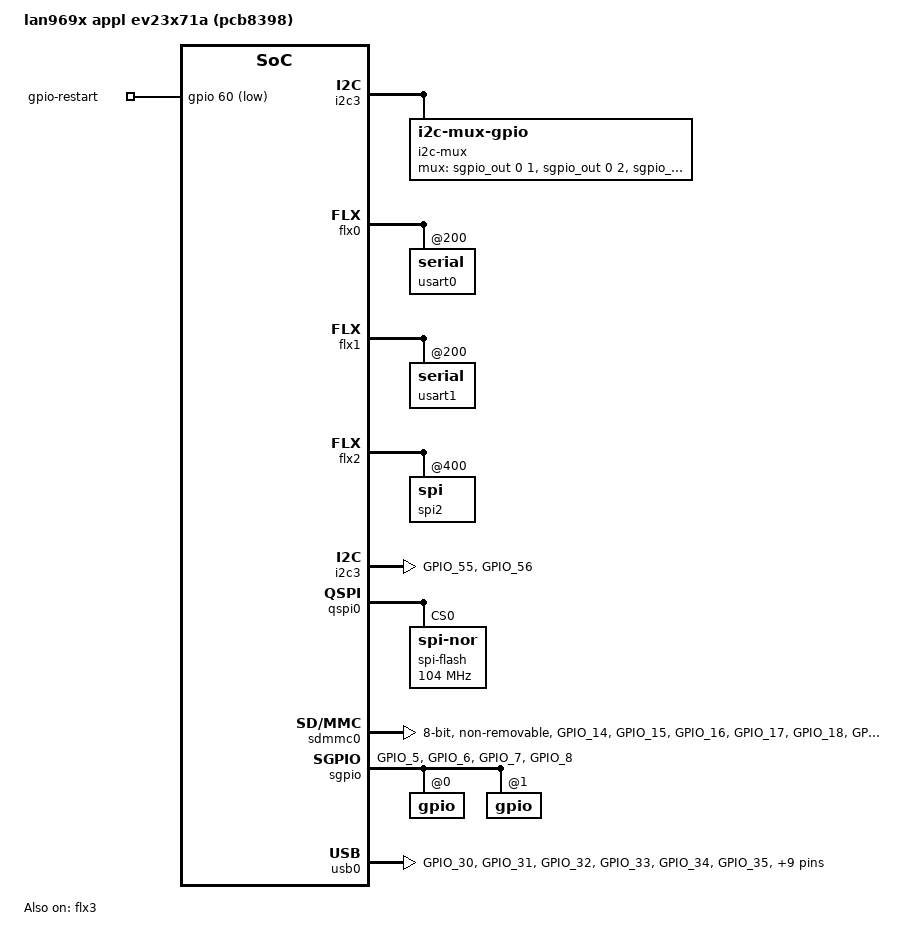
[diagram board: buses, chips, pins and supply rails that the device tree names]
// SPDX-License-Identifier: (GPL-2.0+ OR MIT)

/*
 * Copyright (c) 2022 Microchip Technology Inc. and its subsidiaries.
 */

/dts-v1/;

#include "lan969x.dtsi"

/ {
	model = "lan969x appl ev23x71a (pcb8398)";
	aliases {
		serial0 = &usart0;
		i2c0   = &i2c_poe;
		i2c100 = &i2c_sfp0;
		i2c101 = &i2c_sfp1;
		i2c102 = &i2c_sfp2;
		i2c103 = &i2c_sfp3;
	};

	chosen {
		stdout-path = "serial0:115200n8";
	};

	gpio-restart {
		compatible = "gpio-restart";
		gpios = <&gpio 60 GPIO_ACTIVE_LOW>;
		open-source;
		priority = <200>;
	};

	i2c-mux {
		compatible = "i2c-mux-gpio";
		#address-cells = <1>;
		#size-cells = <0>;
		i2c-parent = <&i2c3>;

		mux-gpios = <&sgpio_out 0 1 GPIO_ACTIVE_HIGH
			     &sgpio_out 0 2 GPIO_ACTIVE_HIGH
			     &sgpio_out 0 3 GPIO_ACTIVE_HIGH>;
		idle-state = <0x8>;

		i2c_sfp0: i2c-sfp0 {
			reg = <0x0>;
		};

		i2c_sfp1: i2c-sfp1 {
			reg = <0x1>;
		};

		i2c_sfp2: i2c-sfp2 {
			reg = <0x2>;
		};

		i2c_sfp3: i2c-sfp3 {
			reg = <0x3>;
		};

		i2c_poe: i2c-poe {
			reg = <0x7>;
		};
	};

	switch_vtss: switch_vtss@e0000000 {
		compatible = "mchp,lan969x-switch-appl";
		reg = <0xe00c0000 0x0010000>,
		      <0xe2010000 0x1410000>;
		reg-names = "cpu", "dev";

		interrupts = <GIC_SPI 10 IRQ_TYPE_LEVEL_HIGH>,
			     <GIC_SPI 88 IRQ_TYPE_LEVEL_HIGH>;
		interrupt-names = "xtr", "fdma";
	};

	switch_ifmux {
		compatible = "microchip,lan969x-ifmux";
		status = "okay";
	};
};

&flx0 {
	atmel,flexcom-mode = <ATMEL_FLEXCOM_MODE_USART>;
	status = "okay";

	usart0: serial@200 {
		pinctrl-0 = <&fc0_pins>;
		pinctrl-names = "default";
		status = "okay";
	};
};

&flx1 {
	atmel,flexcom-mode = <ATMEL_FLEXCOM_MODE_USART>;
	status = "okay";

	usart1: serial@200 {
		pinctrl-0 = <&fc1_pins>;
		pinctrl-names = "default";
		status = "okay";
	};
};

&flx2 {
	atmel,flexcom-mode = <ATMEL_FLEXCOM_MODE_SPI>;
	status = "okay";

	spi2: spi@400 {
		pinctrl-0 = <&fc2_pins>;
		pinctrl-names = "default";
		cs-gpios = <&gpio 63 GPIO_ACTIVE_LOW>;
		status = "okay";

		spi@0 {
			compatible = "mchp,synce_dpll";
			reg = <0>;
			spi-max-frequency = <8000000>;
		};
	};
};

&flx3 {
	atmel,flexcom-mode = <ATMEL_FLEXCOM_MODE_TWI>;
	status = "okay";

	i2c3: i2c@600 {
		pinctrl-0 = <&fc3_pins>;
		pinctrl-names = "default";
		i2c-analog-filter;
		i2c-digital-filter;
		i2c-digital-filter-width-ns = <35>;
		i2c-sda-hold-time-ns = <1500>;
		status = "okay";
	};
};

&gpio {
	emmc_sd_pins: emmc-sd-pins {
		/* eMMC_SD - CMD, CLK, D0, D1, D2, D3, D4, D5, D6, D7, RSTN */
		pins = "GPIO_14", "GPIO_15", "GPIO_16", "GPIO_17",
		       "GPIO_18", "GPIO_19", "GPIO_20", "GPIO_21",
		       "GPIO_22", "GPIO_23", "GPIO_24";
		function = "emmc_sd";
	};

	fc0_pins: fc0-pins {
		pins = "GPIO_3", "GPIO_4";
		function = "fc";
	};

	fc1_pins: fc1-pins {
		pins = "GPIO_28", "GPIO_29";
		function = "fc";
	};

	fc2_pins: fc2-pins {
		pins = "GPIO_64", "GPIO_65", "GPIO_66";
		function = "fc";
	};

	fc3_pins: fc3-pins {
		pins = "GPIO_55", "GPIO_56";
		function = "fc";
	};

	sgpio_pins: sgpio-pins {
		/* SCK, D0, D1, LD */
		pins = "GPIO_5", "GPIO_6", "GPIO_7", "GPIO_8";
		function = "sgpio_a";
	};

	usb_ulpi_pins: usb-ulpi-pins {
		pins = "GPIO_30", "GPIO_31", "GPIO_32", "GPIO_33",
		"GPIO_34", "GPIO_35", "GPIO_36", "GPIO_37",
		"GPIO_38", "GPIO_39", "GPIO_40", "GPIO_41";
		function = "usb_ulpi";
	};

	usb_rst_pins: usb-rst-pins {
		pins = "GPIO_12";
		function = "usb2phy_rst";
	};

	usb_over_pins: usb-over-pins {
		pins = "GPIO_13";
		function = "usb_over_detect";
	};

	usb_power_pins: usb-power-pins {
		pins = "GPIO_1";
		function = "usb_power";
	};
};

&gpio {
	/delete-property/ interrupts;
	/delete-property/ interrupt-controller;
	/delete-property/ #interrupt-cells;
};

&qspi0 {
	status = "okay";

	spi-flash@0 {
		compatible = "jedec,spi-nor";
		reg = <0>;
		spi-max-frequency = <104000000>;
		#address-cells = <1>;
		#size-cells = <1>;
		spi-tx-bus-width = <1>;
		spi-rx-bus-width = <4>;
		m25p,fast-read;
	};
};

&sdmmc0 {
	pinctrl-0 = <&emmc_sd_pins>;
	pinctrl-names = "default";
	max-frequency = <100000000>;
	bus-width = <8>;
	mmc-ddr-1_8v;
	mmc-hs200-1_8v;
	non-removable;
	disable-wp;
	status = "okay";
};

&sgpio_in {
	/delete-property/ interrupts;
	/delete-property/ interrupt-controller;
	/delete-property/ #interrupt-cells;
};

&sgpio {
	pinctrl-0 = <&sgpio_pins>;
	pinctrl-names = "default";

	bus-frequency = <5000000>;

	microchip,sgpio-port-ranges = <0 1>, <6 9>;
	status = "okay";

	gpio@0 {
		ngpios = <128>;
	};
	gpio@1 {
		ngpios = <128>;
	};
};

&uio0 {
	interrupts = <GIC_SPI 17 IRQ_TYPE_LEVEL_HIGH>,
		     <GIC_SPI  8 IRQ_TYPE_LEVEL_HIGH>,
		     <GIC_SPI  9 IRQ_TYPE_LEVEL_HIGH>,
		     <GIC_SPI 74 IRQ_TYPE_LEVEL_HIGH>,
		     <GIC_SPI 16 IRQ_TYPE_LEVEL_HIGH>,
		     <GIC_SPI 15 IRQ_TYPE_LEVEL_HIGH>,
		     <GIC_SPI 111 IRQ_TYPE_LEVEL_HIGH>,
		     <GIC_SPI 112 IRQ_TYPE_LEVEL_HIGH>,
		     <GIC_SPI 113 IRQ_TYPE_LEVEL_HIGH>,
		     <GIC_SPI 114 IRQ_TYPE_LEVEL_HIGH>,
		     <GIC_SPI 115 IRQ_TYPE_LEVEL_HIGH>,
		     <GIC_SPI 116 IRQ_TYPE_LEVEL_HIGH>,
		     <GIC_SPI 117 IRQ_TYPE_LEVEL_HIGH>,
		     <GIC_SPI 118 IRQ_TYPE_LEVEL_HIGH>,
		     <GIC_SPI 119 IRQ_TYPE_LEVEL_HIGH>,
		     <GIC_SPI 120 IRQ_TYPE_LEVEL_HIGH>;
	interrupt-names = "master", "ptp_sync", "ptp_rdy", "oam_vop",
			  "sgpio", "gpio", "sd10g_kr0", "sd10g_kr1",
			  "sd10g_kr2", "sd10g_kr3", "sd10g_kr4",
			  "sd10g_kr5", "sd10g_kr6", "sd10g_kr7",
			  "sd10g_kr8", "sd10g_kr9";
};

&usb0 {
	status = "okay";
	pinctrl-0 = <&usb_ulpi_pins>, <&usb_rst_pins>, <&usb_over_pins>, <&usb_power_pins>;
	pinctrl-names = "default";
};
